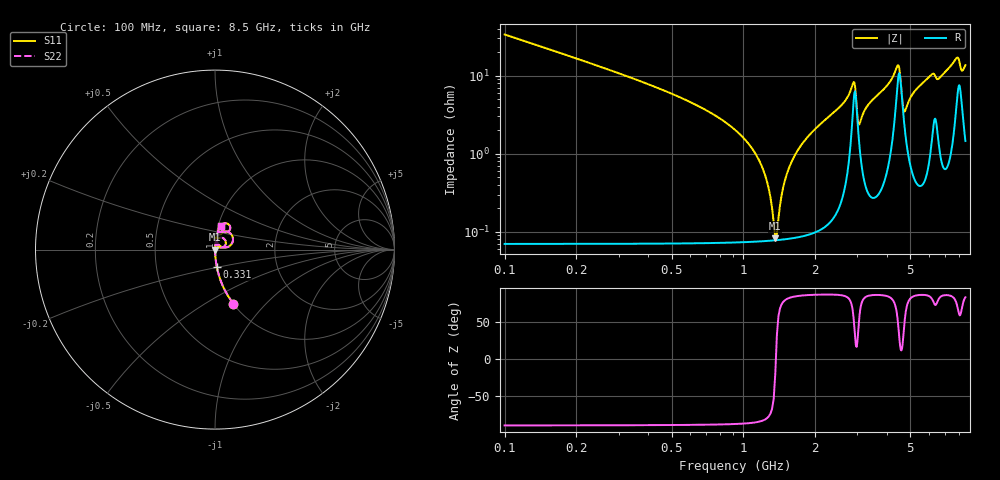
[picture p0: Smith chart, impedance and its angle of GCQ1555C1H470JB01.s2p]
!Murata Part Number: GCQ1555C1H470JB01
!These Parameters are Measured in Series Mode Connection
!Data Generated on Jun 10, 2025
!  o--ll--o
!Port1  Port2
!  o------o
!Operation Temp=25[degC], DC Bias Voltage=0[V]
!Freq. Start=100[MHz] Stop=9[GHz] 401[Steps]
# Hz S RI R 50
!Freq.(Hz) S11(Real) S11(Imag) S21(Real) S21(Imag) S12(Real) S12(Imag) S22(Real) S22(Imag)
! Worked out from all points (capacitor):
!   401 points, 100 MHz to 8.5 GHz, reference 50 ohm
!   read as one part in series: C = 47 pF near 142 MHz
!   lowest |Z| = 82.5 mohm at 1.36 GHz (marker M1)
!   series resonance near 1.367 GHz, so ESL is about 290 pH
!   S11 on the Smith chart (normalised r, x): 100 MHz: 1.00, -0.67; 331 MHz: 1.00, -0.19; 8.5 GHz: 1.03, +0.27
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1e8  0.1024 -0.3021  0.8976 0.3021  0.8976 0.3021  0.1024 -0.3021
3.31e8  0.0099 -0.0954  0.9901 0.0954  0.9901 0.0954  0.0099 -0.0954
1.108e9  0.00086 -0.0107  0.9991 0.0107  0.9991 0.0107  0.00086 -0.0107
1.234e9  0.000788 -0.00519  0.9992 0.00519  0.9992 0.00519  0.000788 -0.00519
1.36e9  0.000779 -0.000269  0.9992 0.000269  0.9992 0.000269  0.000779 -0.000269
1.402e9  0.000787 0.00128  0.9992 -0.00128  0.9992 -0.00128  0.000787 0.00128
1.507e9  0.00083 0.00499  0.9992 -0.00499  0.9992 -0.00499  0.00083 0.00499
1.654e9  0.000938 0.0099  0.9991 -0.0099  0.9991 -0.0099  0.000938 0.0099
1.864e9  0.00119 0.0166  0.9988 -0.0166  0.9988 -0.0166  0.00119 0.0166
2.914e9  0.0592 0.0496  0.9408 -0.0496  0.9408 -0.0496  0.0592 0.0496
3.019e9  0.0208 0.0137  0.9792 -0.0137  0.9792 -0.0137  0.0208 0.0137
3.061e9  0.0127 0.02  0.9873 -0.02  0.9873 -0.02  0.0127 0.02
3.334e9  0.00486 0.0421  0.9951 -0.0421  0.9951 -0.0421  0.00486 0.0421
4.3e9  0.0377 0.0991  0.9623 -0.0991  0.9623 -0.0991  0.0377 0.0991
4.468e9  0.0992 0.0684  0.9008 -0.0684  0.9008 -0.0684  0.0992 0.0684
4.72e9  0.0233 0.0246  0.9767 -0.0246  0.9767 -0.0246  0.0233 0.0246
5.119e9  0.0087 0.0576  0.9913 -0.0576  0.9913 -0.0576  0.0087 0.0576
5.707e9  0.0111 0.0822  0.9889 -0.0822  0.9889 -0.0822  0.0111 0.0822
7.114e9  0.02 0.1146  0.98 -0.1146  0.98 -0.1146  0.02 0.1146
7.828e9  0.0672 0.1453  0.9328 -0.1453  0.9328 -0.1453  0.0672 0.1453
8.206e9  0.0516 0.0983  0.9484 -0.0983  0.9484 -0.0983  0.0516 0.0983
8.5e9  0.0316 0.1294  0.9684 -0.1294  0.9684 -0.1294  0.0316 0.1294
